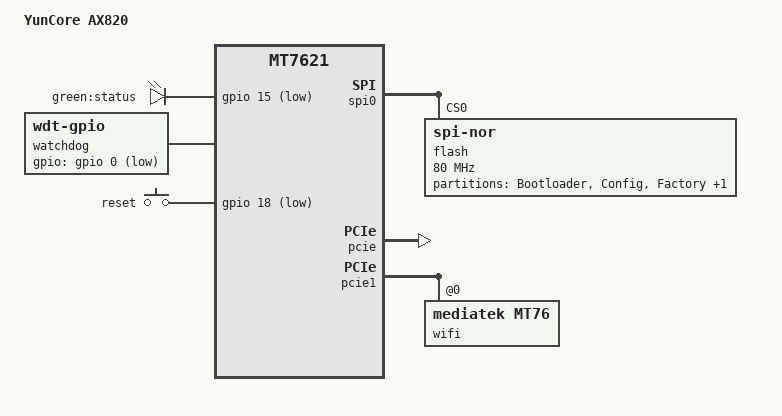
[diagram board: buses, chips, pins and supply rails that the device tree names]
// SPDX-License-Identifier: GPL-2.0-or-later OR MIT

#include "mt7621.dtsi"

#include <dt-bindings/gpio/gpio.h>
#include <dt-bindings/input/input.h>

/ {
	compatible = "yuncore,ax820", "mediatek,mt7621-soc";
	model = "YunCore AX820";

	aliases {
		led-boot = &led_status_green;
		led-failsafe = &led_status_green;
		led-running = &led_status_green;
		led-upgrade = &led_status_green;
	};

	chosen {
		bootargs = "console=ttyS0,115200";
	};

	leds {
		compatible = "gpio-leds";

		led_status_green: status_green {
			label = "green:status";
			gpios = <&gpio 15 GPIO_ACTIVE_LOW>;
		};
	};

	watchdog {
		compatible = "linux,wdt-gpio";
		gpios = <&gpio 0 GPIO_ACTIVE_LOW>;
		hw_algo = "toggle";
		hw_margin_ms = <200>;
		always-running;
	};

	keys {
		compatible = "gpio-keys";

		reset {
			label = "reset";
			gpios = <&gpio 18 GPIO_ACTIVE_LOW>;
			linux,code = <KEY_RESTART>;
		};
	};
};

&spi0 {
	status = "okay";

	flash@0 {
		compatible = "jedec,spi-nor";
		reg = <0>;
		spi-max-frequency = <80000000>;
		m25p,fast-read;

		partitions {
			compatible = "fixed-partitions";
			#address-cells = <1>;
			#size-cells = <1>;

			partition@0 {
				label = "Bootloader";
				reg = <0x0 0x30000>;
				read-only;
			};

			partition@30000 {
				label = "Config";
				reg = <0x30000 0x10000>;
				read-only;
			};

			/* range 0x40000 to 0x50000 is empty in vendor
			 * firmware, so we do not use it either
			 */

			factory: partition@50000 {
				label = "Factory";
				reg = <0x50000 0x40000>;
				read-only;
			};

			partition@90000 {
				compatible = "denx,uimage";
				label = "firmware";
				reg = <0x90000 0xf70000>;
			};
		};
	};
};

&pcie {
	status = "okay";
};

&pcie1 {
	wifi@0,0 {
		compatible = "mediatek,mt76";
		reg = <0x0000 0 0 0 0>;
		mediatek,mtd-eeprom = <&factory 0x0>;
	};
};

&gmac0 {
	mtd-mac-address = <&factory 0xe000>;
};

&switch0 {
	ports {
		port@0 {
			status = "okay";
			label = "wan";
			mtd-mac-address = <&factory 0xe000>;
			mtd-mac-address-increment = <1>;
		};

		port@1 {
			status = "okay";
			label = "lan";
		};
	};
};

&state_default {
	gpio {
		groups = "jtag", "wdt";
		function = "gpio";
	};
};
